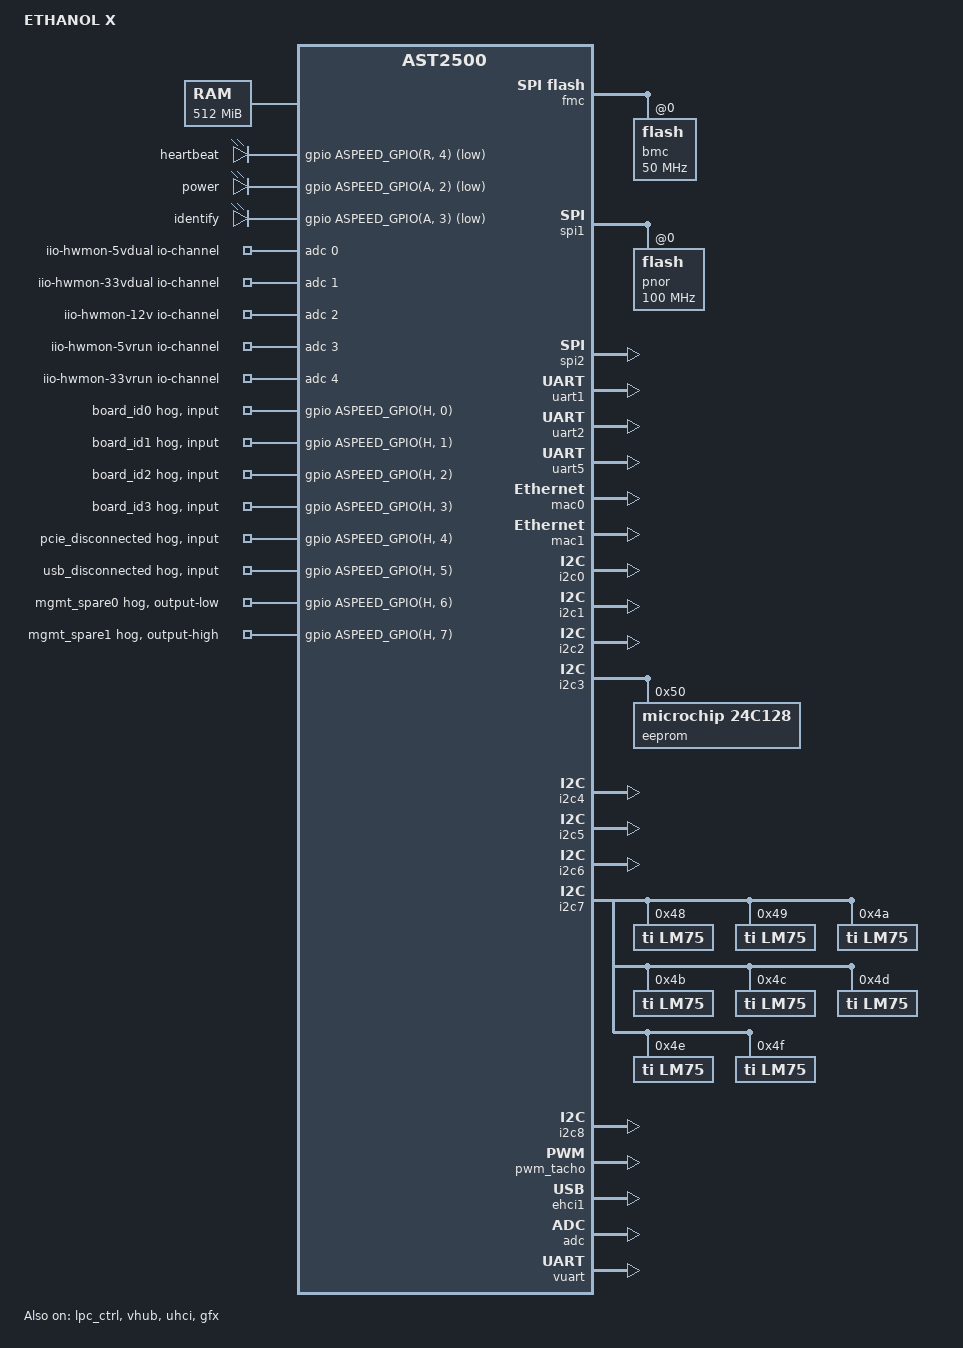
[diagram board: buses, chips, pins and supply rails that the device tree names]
// SPDX-License-Identifier: GPL-2.0+
/dts-v1/;

#include "aspeed-g5.dtsi"
#include <dt-bindings/gpio/aspeed-gpio.h>

/ {
	model = "ETHANOL X";
	compatible = "aspeed,ast2500";

	aliases {
		serial4 = &uart5;
	};

	chosen {
		stdout-path = &uart5;
		bootargs = "console=tty0 console=ttyS4,115200 earlyprintk";
	};

	memory@80000000 {
		device_type = "memory";
		reg = <0x80000000 0x20000000>;
	};

	reserved-memory {
		#address-cells = <1>;
		#size-cells = <1>;
		ranges;

//        vga_memory: framebuffer@bf000000 {
//                no-map;
//                reg = <0xbf000000 0x01000000>; /* 16M */
//        };

        flash_memory: region@20000000 {
                no-map;
                reg = <0x20000000 0x02000000>; /* 32M */
        };

		gfx_memory: framebuffer {
			size = <0x01000000>;
			alignment = <0x01000000>;
			compatible = "shared-dma-pool";
			reusable;
		};
	};

	leds {
		compatible = "gpio-leds";

		heartbeat {
			gpios = <&gpio ASPEED_GPIO(R, 4) GPIO_ACTIVE_LOW>;
		};

		power {
			gpios = <&gpio ASPEED_GPIO(A, 2) GPIO_ACTIVE_LOW>;
		};

		identify {
			gpios = <&gpio ASPEED_GPIO(A, 3) GPIO_ACTIVE_LOW>;
		};
	};

	iio-hwmon-5vdual {
		compatible = "iio-hwmon";
		io-channels = <&adc 0>;
	};

	iio-hwmon-33vdual {
		compatible = "iio-hwmon";
		io-channels = <&adc 1>;
	};

	iio-hwmon-12v {
		compatible = "iio-hwmon";
		io-channels = <&adc 2>;
	};
	
	iio-hwmon-5vrun {
		compatible = "iio-hwmon";
		io-channels = <&adc 3>;
	};

	iio-hwmon-33vrun {
		compatible = "iio-hwmon";
		io-channels = <&adc 4>;
	};
};

&fmc {
	status = "okay";
	flash@0 {
		status = "okay";
		m25p,fast-read;
		label = "bmc";
		spi-max-frequency = <50000000>;
#include "openbmc-flash-layout.dtsi"
	};
};

&spi1 {
	status = "okay";
    pinctrl-names = "default";
    pinctrl-0 = <&pinctrl_spi1_default>;
	flash@0 {
		status = "okay";
		m25p,fast-read;
		label = "pnor";
		spi-max-frequency = <100000000>;
	};
};

&spi2 {
	status = "okay";
};

&lpc_ctrl {
    status = "okay";
    memory-region = <&flash_memory>;
    flash = <&spi1>;
};

&uart1 {
    /* Rear RS-232 connector */
    status = "okay";

    pinctrl-names = "default";
    pinctrl-0 = <&pinctrl_txd1_default
            &pinctrl_rxd1_default
            &pinctrl_nrts1_default
            &pinctrl_ndtr1_default
            &pinctrl_ndsr1_default
            &pinctrl_ncts1_default
            &pinctrl_ndcd1_default
            &pinctrl_nri1_default>;
};

&uart2 {
    status = "okay";
};

&uart5 {
	status = "okay";
};

&mac0 {
	status = "okay";

	pinctrl-names = "default";
	pinctrl-0 = <&pinctrl_rgmii1_default &pinctrl_mdio1_default>;
};

&mac1 {
	status = "okay";

	pinctrl-names = "default";
	pinctrl-0 = <&pinctrl_rgmii2_default &pinctrl_mdio2_default>;
};

&i2c0 {
    /* Advanced Power Management Link P0 */
    status = "okay";
};

&i2c1 {
    /* APML P1 */
    status = "okay";
};

&i2c2 {
    /* FPGA */
    status = "okay";
};

&i2c3 {
    /* 24LC128 EEPROM */
	status = "okay";

	eeprom@50 {
		compatible = "microchip,24c128", "atmel,24c128";
		reg = <0x50>;
		pagesize = <64>;
	};
};

&i2c4 {
    /* P0 Power Regulators */
    status = "okay";

    /* ISL68147 @61h */
};

&i2c5 {
    /* P1 Power Regulators */
    status = "okay";

    /* ISL68147 @61h */
};

&i2c6 {
    /* P1 NVME Controller */
    status = "okay";
};

&i2c7 {
    /* LM75 Temp Sensors */
	status = "okay";
    
    lm75@48 {
        compatible = "ti,lm75";
        reg = <0x48>;
    };
    
    lm75@49 {
        compatible = "ti,lm75";
        reg = <0x49>;
    };

    lm75@4a {
        compatible = "ti,lm75";
        reg = <0x4a>;
    };

	lm75@4b {
		compatible = "ti,lm75";
		reg = <0x4b>;
	};

    lm75@4c {
        compatible = "ti,lm75";
        reg = <0x4c>;
    };

    lm75@4d {
        compatible = "ti,lm75";
        reg = <0x4d>;
    };

    lm75@4e {
        compatible = "ti,lm75";
        reg = <0x4e>;
    };

    lm75@4f {
        compatible = "ti,lm75";
        reg = <0x4f>;
    };

};

&i2c8 {
    /* BMC I2C on P0 */
    status = "okay";
};

&pwm_tacho {
	status = "okay";
	pinctrl-names = "default";
	pinctrl-0 = <&pinctrl_pwm0_default
        &pinctrl_pwm1_default
        &pinctrl_pwm2_default
        &pinctrl_pwm3_default
        &pinctrl_pwm4_default
        &pinctrl_pwm5_default
        &pinctrl_pwm6_default
        &pinctrl_pwm7_default>;

    /* P0 */
	fan@0 {
		reg = <0x00>;
		aspeed,fan-tach-ch = /bits/ 8 <0x00>;
	};

    /* P1 */
	fan@1 {
		reg = <0x01>;
		aspeed,fan-tach-ch = /bits/ 8 <0x01>;
	};

    /* System Fans */
    fan@2 {
        reg = <0x02>;
        aspeed,fan-tach-ch = /bits/ 8 <0x02>;
    };

    fan@3 {
        reg = <0x03>;
        aspeed,fan-tach-ch = /bits/ 8 <0x03>;
    };

    fan@4 {
        reg = <0x04>;
        aspeed,fan-tach-ch = /bits/ 8 <0x04>;
    };

    fan@5 {
        reg = <0x05>;
        aspeed,fan-tach-ch = /bits/ 8 <0x05>;
    };

    fan@6 {
        reg = <0x06>;
        aspeed,fan-tach-ch = /bits/ 8 <0x06>;
    };

    fan@7 {
        reg = <0x07>;
        aspeed,fan-tach-ch = /bits/ 8 <0x07>;
    };

};

&gpio {

	board_id0 {
		gpio-hog;
		gpios = <ASPEED_GPIO(H, 0) GPIO_ACTIVE_HIGH>;
		input;
		line-name = "board_id0";
	};
	board_id1 {
	        gpio-hog;
                gpios = <ASPEED_GPIO(H, 1) GPIO_ACTIVE_HIGH>;
                input;
                line-name = "board_id1";
	};
	board_id2 {
		gpio-hog;
		gpios = <ASPEED_GPIO(H, 2) GPIO_ACTIVE_HIGH>;
		input;
		line-name = "board_id2";
	};
	board_id3{
		gpio-hog;
		gpios = <ASPEED_GPIO(H, 3) GPIO_ACTIVE_HIGH>;
		input;
		line-name = "board_id3";
	};
	pcie_disconnected {
		gpio-hog;
		gpios = <ASPEED_GPIO(H, 4) GPIO_ACTIVE_HIGH>;
		input;
		line-name = "pcie_disconnected";
	};
	usb_disconnected {
		gpio-hog;
		gpios = <ASPEED_GPIO(H, 5) GPIO_ACTIVE_HIGH>;
		input;
		line-name = "usb_disconnected";
	};
	mgmt_spare0 {
		gpio-hog;
		gpios = <ASPEED_GPIO(H, 6) GPIO_ACTIVE_HIGH>;
		output-low;
		line-name = "mgmt_spare0";
	};
	mgmt_spare1 {
		gpio-hog;
		gpios = <ASPEED_GPIO(H, 7) GPIO_ACTIVE_HIGH>;
		output-high;
		line-name = "mgmt_spare1";
	};
};

/*
 * Enable port A as device (via the virtual hub) and port B as
 * host by default on the eval board. This can be easily changed
 * by replacing the override below with &ehci0 { ... } to enable
 * host on both ports.
 */
&vhub {
	status = "okay";
};

&ehci1 {
	status = "okay";
};

&uhci {
	status = "okay";
};

&gfx {
     status = "okay";
     memory-region = <&gfx_memory>;
};

&adc {
	status = "okay";
};

&vuart {
    status = "okay";
};
